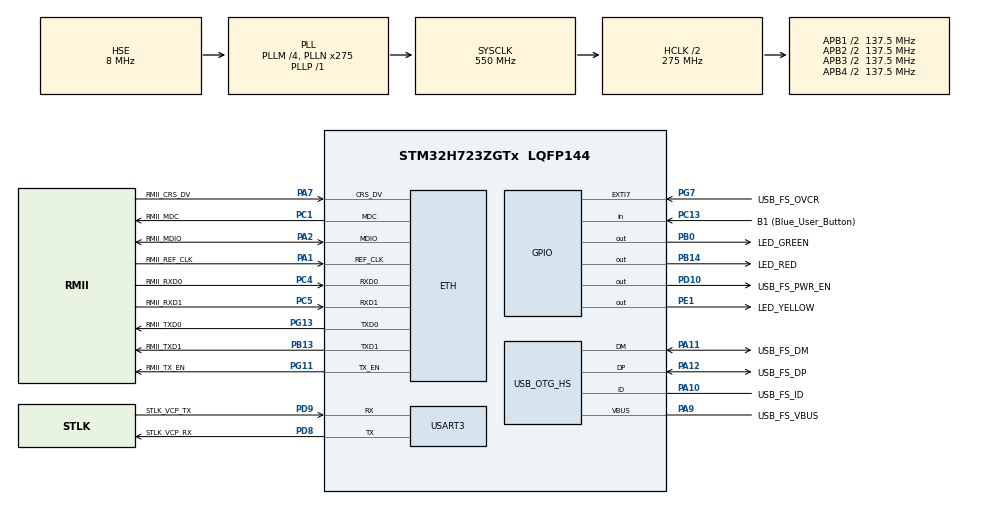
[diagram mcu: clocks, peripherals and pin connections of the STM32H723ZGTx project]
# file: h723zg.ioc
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ETH.MediaInterface=HAL_ETH_RMII_MODE
Mcu.Family=STM32H7
Mcu.Name=STM32H723ZGTx
Mcu.Package=LQFP144
NVIC.ETH_IRQn=true\:0\:0\:false\:false\:true\:true\:true\:true
NVIC.PriorityGroup=NVIC_PRIORITYGROUP_4
PA1.GPIO_Label=RMII_REF_CLK
PA1.Mode=RMII
PA1.Signal=ETH_REF_CLK
PA10.GPIO_Label=USB_FS_ID
PA10.Mode=OTG/Dual-Role-Device-FS
PA10.Signal=USB_OTG_HS_ID
PA11.GPIO_Label=USB_FS_DM
PA11.Mode=OTG/Dual-Role-Device-FS
PA11.Signal=USB_OTG_HS_DM
PA12.GPIO_Label=USB_FS_DP
PA12.Mode=OTG/Dual-Role-Device-FS
PA12.Signal=USB_OTG_HS_DP
PA13(JTMS/SWDIO).GPIO_Label=SWDIO
PA13(JTMS/SWDIO).Mode=Trace_Asynchronous_SW
PA13(JTMS/SWDIO).Signal=DEBUG_JTMS-SWDIO
PA14(JTCK/SWCLK).GPIO_Label=SWCLK
PA14(JTCK/SWCLK).Mode=Trace_Asynchronous_SW
PA14(JTCK/SWCLK).Signal=DEBUG_JTCK-SWCLK
PA2.GPIO_Label=RMII_MDIO
PA2.Mode=RMII
PA2.Signal=ETH_MDIO
PA7.GPIO_Label=RMII_CRS_DV
PA7.Mode=RMII
PA7.Signal=ETH_CRS_DV
PA9.GPIO_Label=USB_FS_VBUS
PA9.Mode=Activate_VBUS_FS
PA9.Signal=USB_OTG_HS_VBUS
PB0.GPIO_Label=LED_GREEN
PB0.Signal=GPIO_Output
PB13.GPIO_Label=RMII_TXD1
PB13.Mode=RMII
PB13.Signal=ETH_TXD1
PB14.GPIO_Label=LED_RED
PB14.Signal=GPIO_Output
PB3(JTDO/TRACESWO).GPIO_Label=SWO
PB3(JTDO/TRACESWO).Mode=Trace_Asynchronous_SW
PB3(JTDO/TRACESWO).Signal=DEBUG_JTDO-SWO
PC1.GPIO_Label=RMII_MDC
PC1.Mode=RMII
PC1.Signal=ETH_MDC
PC13.GPIO_Label=B1 (Blue_User_Button)
PC13.Signal=GPIO_Input
PC14-OSC32_IN.Mode=LSE-External-Oscillator
PC14-OSC32_IN.Signal=RCC_OSC32_IN
PC15-OSC32_OUT.Mode=LSE-External-Oscillator
PC15-OSC32_OUT.Signal=RCC_OSC32_OUT
PC4.GPIO_Label=RMII_RXD0
PC4.Mode=RMII
PC4.Signal=ETH_RXD0
PC5.GPIO_Label=RMII_RXD1
PC5.Mode=RMII
PC5.Signal=ETH_RXD1
PD10.GPIO_Label=USB_FS_PWR_EN
PD10.Signal=GPIO_Output
PD8.GPIO_Label=STLK_VCP_RX
PD8.Mode=Asynchronous
PD8.Signal=USART3_TX
PD9.GPIO_Label=STLK_VCP_TX
PD9.Mode=Asynchronous
PD9.Signal=USART3_RX
PE1.GPIO_Label=LED_YELLOW
PE1.Signal=GPIO_Output
PG11.GPIO_Label=RMII_TX_EN
PG11.Mode=RMII
PG11.Signal=ETH_TX_EN
PG13.GPIO_Label=RMII_TXD0
PG13.Mode=RMII
PG13.Signal=ETH_TXD0
PG7.GPIO_Label=USB_FS_OVCR
PG7.Signal=GPXTI7
PH0-OSC_IN.GPIO_Label=MCO
PH0-OSC_IN.Mode=HSE-External-Clock-Source
PH0-OSC_IN.Signal=RCC_OSC_IN
PH1-OSC_OUT.Signal=RCC_OSC_OUT
ProjectManager.HeapSize=0x200
ProjectManager.StackSize=0x400
ProjectManager.TargetToolchain=STM32CubeIDE
RCC.ADCFreq_Value=76000000
RCC.APB1Freq_Value=137500000
RCC.APB2Freq_Value=137500000
RCC.APB3Freq_Value=137500000
RCC.APB4Freq_Value=137500000
RCC.CortexFreq_Value=550000000
RCC.D1PPRE=RCC_APB3_DIV2
RCC.D2PPRE1=RCC_APB1_DIV2
RCC.D2PPRE2=RCC_APB2_DIV2
RCC.D3PPRE=RCC_APB4_DIV2
RCC.DIVM1=4
RCC.DIVM2=1
RCC.DIVN1=275
RCC.DIVN2=19
RCC.DIVP1=1
RCC.DIVQ1=4
RCC.HCLKFreq_Value=275000000
RCC.HPRE=RCC_HCLK_DIV2
RCC.HSE_VALUE=8000000
RCC.PLLFRACN=0
RCC.PLLSourceVirtual=RCC_PLLSOURCE_HSE
RCC.SYSCLKFreq_VALUE=550000000
RCC.SYSCLKSource=RCC_SYSCLKSOURCE_PLLCLK
RCC.USBCLockSelection=RCC_USBCLKSOURCE_HSI48
RCC.USBFreq_Value=48000000
USART3.VirtualMode-Asynchronous=VM_ASYNC
VP_RNG_VS_RNG.Mode=RNG_Activate
board=NUCLEO-H723ZG

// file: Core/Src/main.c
/* USER CODE BEGIN Header */
/**
  ******************************************************************************
  * @file           : main.c
  * @brief          : Main program body
  ******************************************************************************
  * @attention
  *
  * Copyright (c) 2023 STMicroelectronics.
  * All rights reserved.
  *
  * This software is licensed under terms that can be found in the LICENSE file
  * in the root directory of this software component.
  * If no LICENSE file comes with this software, it is provided AS-IS.
  *
  ******************************************************************************
  */
/* USER CODE END Header */
#include "main.h"
#include "string.h"

/* USER CODE BEGIN Includes */
#include "hal.h"
#include "mongoose.h"
#include "net.h"
/* USER CODE END Includes */

/* USER CODE BEGIN PD */
#define BLINK_PERIOD_MS 1000

static const char *s_listen_on = "ws://localhost:8000";
static const char *s_web_root = ".";

/* USER CODE END PD */

#if defined ( __ICCARM__ ) /*!< IAR Compiler */
#pragma location=0x30000000
ETH_DMADescTypeDef  DMARxDscrTab[ETH_RX_DESC_CNT]; /* Ethernet Rx DMA Descriptors */
#pragma location=0x30000200
ETH_DMADescTypeDef  DMATxDscrTab[ETH_TX_DESC_CNT]; /* Ethernet Tx DMA Descriptors */

#elif defined ( __CC_ARM )  /* MDK ARM Compiler */

__attribute__((at(0x30000000))) ETH_DMADescTypeDef  DMARxDscrTab[ETH_RX_DESC_CNT]; /* Ethernet Rx DMA Descriptors */
__attribute__((at(0x30000200))) ETH_DMADescTypeDef  DMATxDscrTab[ETH_TX_DESC_CNT]; /* Ethernet Tx DMA Descriptors */

#elif defined ( __GNUC__ ) /* GNU Compiler */
ETH_DMADescTypeDef DMARxDscrTab[ETH_RX_DESC_CNT] __attribute__((section(".RxDecripSection"))); /* Ethernet Rx DMA Descriptors */
ETH_DMADescTypeDef DMATxDscrTab[ETH_TX_DESC_CNT] __attribute__((section(".TxDecripSection")));   /* Ethernet Tx DMA Descriptors */

#endif

ETH_TxPacketConfig TxConfig;

ETH_HandleTypeDef heth;

RNG_HandleTypeDef hrng;

UART_HandleTypeDef huart3;

void SystemClock_Config(void);
static void MX_GPIO_Init(void);
static void MX_ETH_Init(void);
static void MX_USART3_UART_Init(void);
static void MX_USB_OTG_HS_USB_Init(void);
static void MX_RNG_Init(void);

/* USER CODE BEGIN 0 */
uint64_t mg_millis(void) {  // Let Mongoose use our uptime function
  return (uint64_t)HAL_GetTick();     // Return number of milliseconds since boot
}

void mg_random(void *buf, size_t len) {  // Use on-board RNG
  extern RNG_HandleTypeDef hrng;
  for (size_t n = 0; n < len; n += sizeof(uint32_t)) {
    uint32_t r;
    HAL_RNG_GenerateRandomNumber(&hrng, &r);
    memcpy((char *) buf + n, &r, n + sizeof(r) > len ? len - n : sizeof(r));
  }
}

static void timer_fn(void *arg) {
  HAL_GPIO_TogglePin(GPIOE, GPIO_PIN_1);   // Blink On-board yellow LED
  struct mg_tcpip_if *ifp = arg;                  // And show
  const char *names[] = {"down", "up", "ready"};  // network stats
  MG_INFO(("Ethernet: %s, IP: %M, rx:%u, tx:%u, dr:%u, er:%u",
           names[ifp->state], mg_print_ip4, &ifp->ip, ifp->nrecv, ifp->nsent,
           ifp->ndrop, ifp->nerr));
}

static void mg_event_handler(struct mg_connection *c, int ev, void *ev_data, void *fn_data) {
  if (ev == MG_EV_OPEN) {
  } else if (ev == MG_EV_HTTP_MSG) {
    struct mg_http_message *hm = (struct mg_http_message *)ev_data;
    if (mg_http_match_uri(hm, "/websocket")) {
      mg_ws_upgrade(c, hm, NULL);
    } else {
      struct mg_http_serve_opts opts = {.root_dir = s_web_root};
      mg_http_serve_dir(c, ev_data, &opts);
    }
  } else if (ev == MG_EV_WS_MSG) {
    struct mg_ws_message *wm = (struct mg_ws_message *)ev_data;
    mg_ws_send(c, wm->data.ptr, wm->data.len, WEBSOCKET_OP_TEXT);
  }
  (void)fn_data;
}
/* USER CODE END 0 */

int main(void)
{

  /* MCU Configuration--------------------------------------------------------*/

  /* Reset of all peripherals, Initializes the Flash interface and the Systick. */
  HAL_Init();

  /* Configure the system clock */
  SystemClock_Config();

  /* Initialize all configured peripherals */
  MX_GPIO_Init();
  MX_ETH_Init();
  MX_USART3_UART_Init();
  MX_USB_OTG_HS_USB_Init();
  MX_RNG_Init();
  /* USER CODE BEGIN 2 */
  test_init();  // for internal testing purposes only
    MG_INFO(("Chip revision: %c, max cpu clock: %u MHz", chiprev(),
             (chiprev() == 'V') ? 480 : 400));
    MG_INFO(("Starting, CPU freq %g MHz", (double) SystemCoreClock / 1000000));

    struct mg_mgr mgr;        // Initialise
    mg_mgr_init(&mgr);        // Mongoose event manager
    mg_log_set(MG_LL_DEBUG);  // Set log level

    // Initialise Mongoose network stack
    struct mg_tcpip_driver_stm32h_data driver_data = {.mdc_cr = 4};
    struct mg_tcpip_if mif = {.mac = {0xaa,0xbb,0xcc,1,2,3},
                              // Uncomment below for static configuration:
                              //.ip = mg_htonl(MG_U32(192, 168, 1, 25)),
                              //.mask = mg_htonl(MG_U32(255, 255, 255, 0)),
                              //.gw = mg_htonl(MG_U32(192, 168, 1, 1)),
                              .driver = &mg_tcpip_driver_stm32h,
                              .driver_data = &driver_data};
    mg_tcpip_init(&mgr, &mif);
    mg_timer_add(&mgr, BLINK_PERIOD_MS, MG_TIMER_REPEAT, timer_fn, &mif);
    mg_http_listen(&mgr, s_listen_on, mg_event_handler, NULL);
    MG_INFO(("MAC: %M. Waiting for IP...", mg_print_mac, mif.mac));
    while (mif.state != MG_TCPIP_STATE_READY) {
      mg_mgr_poll(&mgr, 0);
    }

    MG_INFO(("Initialising application..."));
    web_init(&mgr);

    MG_INFO(("Starting event loop"));
  /* USER CODE END 2 */

  /* Infinite loop */
  while (1)
  {

    /* USER CODE BEGIN 3 */
	  mg_mgr_poll(&mgr, 0);
  }
  /* USER CODE END 3 */
}

void SystemClock_Config(void)
{
  RCC_OscInitTypeDef RCC_OscInitStruct = {0};
  RCC_ClkInitTypeDef RCC_ClkInitStruct = {0};

  /** Supply configuration update enable
  */
  HAL_PWREx_ConfigSupply(PWR_LDO_SUPPLY);

  /** Configure the main internal regulator output voltage
  */
  __HAL_PWR_VOLTAGESCALING_CONFIG(PWR_REGULATOR_VOLTAGE_SCALE0);

  while(!__HAL_PWR_GET_FLAG(PWR_FLAG_VOSRDY)) {}

  /** Initializes the RCC Oscillators according to the specified parameters
  * in the RCC_OscInitTypeDef structure.
  */
  RCC_OscInitStruct.OscillatorType = RCC_OSCILLATORTYPE_HSI48|RCC_OSCILLATORTYPE_HSE;
  RCC_OscInitStruct.HSEState = RCC_HSE_BYPASS;
  RCC_OscInitStruct.HSI48State = RCC_HSI48_ON;
  RCC_OscInitStruct.PLL.PLLState = RCC_PLL_ON;
  RCC_OscInitStruct.PLL.PLLSource = RCC_PLLSOURCE_HSE;
  RCC_OscInitStruct.PLL.PLLM = 4;
  RCC_OscInitStruct.PLL.PLLN = 275;
  RCC_OscInitStruct.PLL.PLLP = 1;
  RCC_OscInitStruct.PLL.PLLQ = 4;
  RCC_OscInitStruct.PLL.PLLR = 2;
  RCC_OscInitStruct.PLL.PLLRGE = RCC_PLL1VCIRANGE_1;
  RCC_OscInitStruct.PLL.PLLVCOSEL = RCC_PLL1VCOWIDE;
  RCC_OscInitStruct.PLL.PLLFRACN = 0;
  if (HAL_RCC_OscConfig(&RCC_OscInitStruct) != HAL_OK)
  {
    Error_Handler();
  }

  /** Initializes the CPU, AHB and APB buses clocks
  */
  RCC_ClkInitStruct.ClockType = RCC_CLOCKTYPE_HCLK|RCC_CLOCKTYPE_SYSCLK
                              |RCC_CLOCKTYPE_PCLK1|RCC_CLOCKTYPE_PCLK2
                              |RCC_CLOCKTYPE_D3PCLK1|RCC_CLOCKTYPE_D1PCLK1;
  RCC_ClkInitStruct.SYSCLKSource = RCC_SYSCLKSOURCE_PLLCLK;
  RCC_ClkInitStruct.SYSCLKDivider = RCC_SYSCLK_DIV1;
  RCC_ClkInitStruct.AHBCLKDivider = RCC_HCLK_DIV2;
  RCC_ClkInitStruct.APB3CLKDivider = RCC_APB3_DIV2;
  RCC_ClkInitStruct.APB1CLKDivider = RCC_APB1_DIV2;
  RCC_ClkInitStruct.APB2CLKDivider = RCC_APB2_DIV2;
  RCC_ClkInitStruct.APB4CLKDivider = RCC_APB4_DIV2;

  if (HAL_RCC_ClockConfig(&RCC_ClkInitStruct, FLASH_LATENCY_3) != HAL_OK)
  {
    Error_Handler();
  }
}

static void MX_ETH_Init(void)
{

   static uint8_t MACAddr[6];

  heth.Instance = ETH;
  MACAddr[0] = 0x00;
  MACAddr[1] = 0x80;
  MACAddr[2] = 0xE1;
  MACAddr[3] = 0x00;
  MACAddr[4] = 0x00;
  MACAddr[5] = 0x00;
  heth.Init.MACAddr = &MACAddr[0];
  heth.Init.MediaInterface = HAL_ETH_RMII_MODE;
  heth.Init.TxDesc = DMATxDscrTab;
  heth.Init.RxDesc = DMARxDscrTab;
  heth.Init.RxBuffLen = 1524;

  if (HAL_ETH_Init(&heth) != HAL_OK)
  {
    Error_Handler();
  }

  memset(&TxConfig, 0 , sizeof(ETH_TxPacketConfig));
  TxConfig.Attributes = ETH_TX_PACKETS_FEATURES_CSUM | ETH_TX_PACKETS_FEATURES_CRCPAD;
  TxConfig.ChecksumCtrl = ETH_CHECKSUM_IPHDR_PAYLOAD_INSERT_PHDR_CALC;
  TxConfig.CRCPadCtrl = ETH_CRC_PAD_INSERT;

}

static void MX_RNG_Init(void)
{

  hrng.Instance = RNG;
  hrng.Init.ClockErrorDetection = RNG_CED_ENABLE;
  if (HAL_RNG_Init(&hrng) != HAL_OK)
  {
    Error_Handler();
  }

}

static void MX_USART3_UART_Init(void)
{

  huart3.Instance = USART3;
  huart3.Init.BaudRate = 115200;
  huart3.Init.WordLength = UART_WORDLENGTH_8B;
  huart3.Init.StopBits = UART_STOPBITS_1;
  huart3.Init.Parity = UART_PARITY_NONE;
  huart3.Init.Mode = UART_MODE_TX_RX;
  huart3.Init.HwFlowCtl = UART_HWCONTROL_NONE;
  huart3.Init.OverSampling = UART_OVERSAMPLING_16;
  huart3.Init.OneBitSampling = UART_ONE_BIT_SAMPLE_DISABLE;
  huart3.Init.ClockPrescaler = UART_PRESCALER_DIV1;
  huart3.AdvancedInit.AdvFeatureInit = UART_ADVFEATURE_NO_INIT;
  if (HAL_UART_Init(&huart3) != HAL_OK)
  {
    Error_Handler();
  }
  if (HAL_UARTEx_SetTxFifoThreshold(&huart3, UART_TXFIFO_THRESHOLD_1_8) != HAL_OK)
  {
    Error_Handler();
  }
  if (HAL_UARTEx_SetRxFifoThreshold(&huart3, UART_RXFIFO_THRESHOLD_1_8) != HAL_OK)
  {
    Error_Handler();
  }
  if (HAL_UARTEx_DisableFifoMode(&huart3) != HAL_OK)
  {
    Error_Handler();
  }

}

static void MX_USB_OTG_HS_USB_Init(void)
{

}

static void MX_GPIO_Init(void)
{
  GPIO_InitTypeDef GPIO_InitStruct = {0};

  /* GPIO Ports Clock Enable */
  __HAL_RCC_GPIOC_CLK_ENABLE();
  __HAL_RCC_GPIOH_CLK_ENABLE();
  __HAL_RCC_GPIOA_CLK_ENABLE();
  __HAL_RCC_GPIOB_CLK_ENABLE();
  __HAL_RCC_GPIOD_CLK_ENABLE();
  __HAL_RCC_GPIOG_CLK_ENABLE();
  __HAL_RCC_GPIOE_CLK_ENABLE();

  /*Configure GPIO pin Output Level */
  HAL_GPIO_WritePin(GPIOB, LED_GREEN_Pin|LED_RED_Pin, GPIO_PIN_RESET);

  /*Configure GPIO pin Output Level */
  HAL_GPIO_WritePin(USB_FS_PWR_EN_GPIO_Port, USB_FS_PWR_EN_Pin, GPIO_PIN_RESET);

  /*Configure GPIO pin Output Level */
  HAL_GPIO_WritePin(LED_YELLOW_GPIO_Port, LED_YELLOW_Pin, GPIO_PIN_RESET);

  /*Configure GPIO pin : B1_Pin */
  GPIO_InitStruct.Pin = B1_Pin;
  GPIO_InitStruct.Mode = GPIO_MODE_INPUT;
  GPIO_InitStruct.Pull = GPIO_NOPULL;
  HAL_GPIO_Init(B1_GPIO_Port, &GPIO_InitStruct);

  /*Configure GPIO pins : LED_GREEN_Pin LED_RED_Pin */
  GPIO_InitStruct.Pin = LED_GREEN_Pin|LED_RED_Pin;
  GPIO_InitStruct.Mode = GPIO_MODE_OUTPUT_PP;
  GPIO_InitStruct.Pull = GPIO_NOPULL;
  GPIO_InitStruct.Speed = GPIO_SPEED_FREQ_LOW;
  HAL_GPIO_Init(GPIOB, &GPIO_InitStruct);

  /*Configure GPIO pin : USB_FS_PWR_EN_Pin */
  GPIO_InitStruct.Pin = USB_FS_PWR_EN_Pin;
  GPIO_InitStruct.Mode = GPIO_MODE_OUTPUT_PP;
  GPIO_InitStruct.Pull = GPIO_NOPULL;
  GPIO_InitStruct.Speed = GPIO_SPEED_FREQ_LOW;
  HAL_GPIO_Init(USB_FS_PWR_EN_GPIO_Port, &GPIO_InitStruct);

  /*Configure GPIO pin : USB_FS_OVCR_Pin */
  GPIO_InitStruct.Pin = USB_FS_OVCR_Pin;
  GPIO_InitStruct.Mode = GPIO_MODE_IT_RISING;
  GPIO_InitStruct.Pull = GPIO_NOPULL;
  HAL_GPIO_Init(USB_FS_OVCR_GPIO_Port, &GPIO_InitStruct);

  /*Configure GPIO pin : USB_FS_VBUS_Pin */
  GPIO_InitStruct.Pin = USB_FS_VBUS_Pin;
  GPIO_InitStruct.Mode = GPIO_MODE_INPUT;
  GPIO_InitStruct.Pull = GPIO_NOPULL;
  HAL_GPIO_Init(USB_FS_VBUS_GPIO_Port, &GPIO_InitStruct);

  /*Configure GPIO pin : USB_FS_ID_Pin */
  GPIO_InitStruct.Pin = USB_FS_ID_Pin;
  GPIO_InitStruct.Mode = GPIO_MODE_AF_PP;
  GPIO_InitStruct.Pull = GPIO_NOPULL;
  GPIO_InitStruct.Speed = GPIO_SPEED_FREQ_LOW;
  GPIO_InitStruct.Alternate = GPIO_AF10_OTG1_HS;
  HAL_GPIO_Init(USB_FS_ID_GPIO_Port, &GPIO_InitStruct);

  /*Configure GPIO pin : LED_YELLOW_Pin */
  GPIO_InitStruct.Pin = LED_YELLOW_Pin;
  GPIO_InitStruct.Mode = GPIO_MODE_OUTPUT_PP;
  GPIO_InitStruct.Pull = GPIO_NOPULL;
  GPIO_InitStruct.Speed = GPIO_SPEED_FREQ_LOW;
  HAL_GPIO_Init(LED_YELLOW_GPIO_Port, &GPIO_InitStruct);

}

void Error_Handler(void)
{
  __disable_irq();
  while (1)
  {
  }
}
